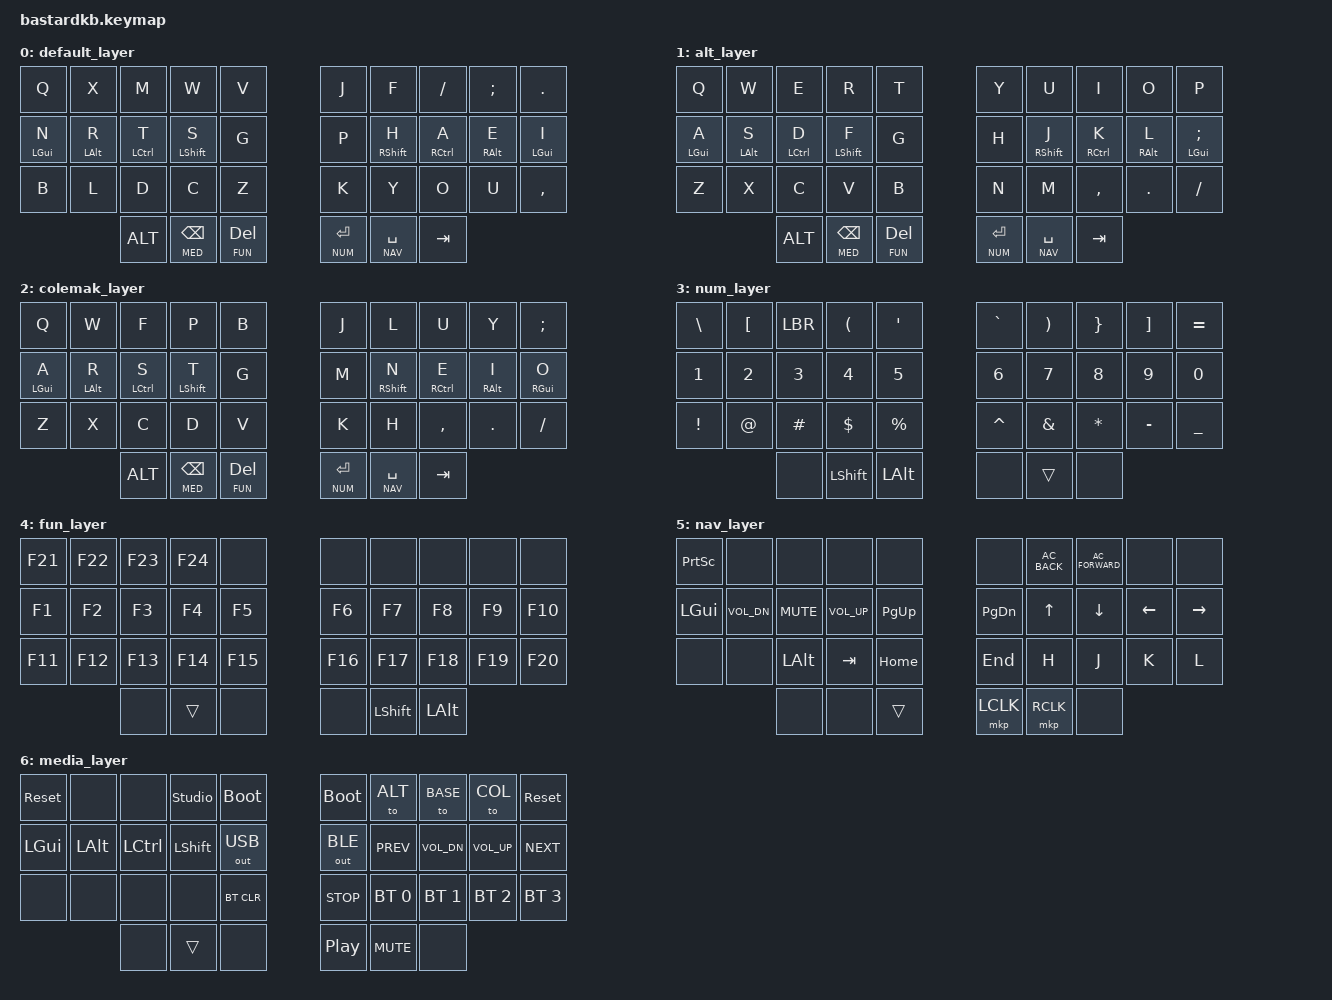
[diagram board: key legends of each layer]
#define ZMK_POINTING_DEFAULT_MOVE_VAL 2500  // 600
#define ZMK_POINTING_DEFAULT_SCRL_VAL 20    // 10

#include <behaviors.dtsi>
#include <dt-bindings/zmk/bt.h>
#include <dt-bindings/zmk/keys.h>
#include <dt-bindings/zmk/outputs.h>
#include <dt-bindings/zmk/pointing.h>

// The default keymap is roughly on Miryoku layout
// (https://github.com/manna-harbour/miryoku).
// Customize on your own on the config folder.

// Layer definitions
#define BASE    0
#define ALT     1
#define COL		2
#define NUM     3
#define FUN     4
#define NAV     5
#define MED     6
// -----------------

/ {
    behaviors {
        ht: hold_tap {
            label = "hold_tap";
            compatible = "zmk,behavior-hold-tap";
            #binding-cells = <2>;
            flavor = "tap-preferred";
            tapping-term-ms = <220>;
            quick-tap-ms = <150>;
            global-quick-tap;
            bindings = <&kp>, <&kp>;
        };

        mmv {
            acceleration-exponent = <1>;      // 1
            time-to-max-speed-ms = <300>;    // 40
            delay-ms = <0>;                   // 0
        };

        msc {
            acceleration-exponent = <0>;      // 0
            time-to-max-speed-ms = <40>;      // 500
            delay-ms = <0>;                   // 10
        };
    };

    keymap {
        compatible = "zmk,keymap";

        default_layer { // GALLIUM
			bindings = <
&kp Q       &kp X       &kp M       &kp W        &kp V                      &kp J           &kp F         &kp FSLH    &kp SEMI        &kp DOT
&ht LGUI N  &ht LALT R  &ht LCTRL T &ht LSHFT S  &kp G                      &kp P           &ht RSHFT H   &ht RCTRL A &ht RALT E      &ht LGUI I
&kp B       &kp L       &kp D       &kp C        &kp Z                      &kp K           &kp Y         &kp O       &kp U           &kp COMMA
                        &kp ALT     &lt MED BSPC &lt FUN DEL                &lt NUM RET     &lt NAV SPACE &kp TAB
            >;
        };

	    alt_layer { // QWERTY
            bindings = <
&kp Q       &kp W       &kp E       &kp R        &kp T                      &kp Y           &kp U         &kp I       &kp O           &kp P
&ht LGUI A  &ht LALT S  &ht LCTRL D &ht LSHFT F  &kp G                      &kp H           &ht RSHFT J   &ht RCTRL K &ht RALT L      &ht LGUI SEMI
&kp Z       &kp X       &kp C       &kp V        &kp B                      &kp N           &kp M         &kp COMMA   &kp DOT         &kp FSLH
                        &kp ALT     &lt MED BSPC &lt FUN DEL                &lt NUM RET     &lt NAV SPACE &kp TAB
            >;
        };    
	
	colemak_layer {
            bindings = <
    &kp Q       &kp W       &kp F       &kp P         &kp B                 &kp J           &kp L         &kp U       &kp Y           &kp SEMI
    &ht LGUI A  &ht LALT R  &ht LCTRL S &ht LSHFT T   &kp G                 &kp M           &ht RSHFT N   &ht RCTRL E &ht RALT I      &ht RGUI O
    &kp Z       &kp X       &kp C       &kp D         &kp V                 &kp K           &kp H         &kp COMMA   &kp DOT         &kp FSLH
                            &kp ALT     &lt MED BSPC  &lt FUN DEL           &lt NUM RET     &lt NAV SPACE &kp TAB
            >;
        };

        /* num_layer {
            bindings = <
&kp F12         &kp F7       &kp F8        &kp F9          &kp RBRC    &kp ASTRK  &kp N7        &kp N8        &kp N9       &kp FSLH
&ht LGUI F11    &ht LALT F4  &ht LCTRL F5  &ht LSHFT F6    &kp PLUS    &kp EQUAL  &ht RSHFT N4  &ht RCTRL N5  &ht RALT N6  &ht RGUI PLUS
&kp F10         &kp F1       &kp F2        &kp F3          &kp TAB     &kp BSLH   &kp N1        &kp N2        &kp N3       &kp MINUS
                                           &kp LPAR        &kp RPAR    &trans     &kp N0
            >;
        }; */

	num_layer {
            bindings = <
&kp BSLH   &kp LBKT   &kp LBR  &kp LPAR   &kp SQT      &kp GRAVE  &kp RPAR  &kp RBRC   &kp RBKT   &kp EQUAL
&kp N1     &kp N2     &kp N3   &kp N4     &kp N5       &kp N6     &kp N7    &kp N8     &kp N9     &kp N0   
&kp EXCL   &kp AT     &kp HASH &kp DLLR   &kp PRCNT    &kp CARET  &kp AMPS  &kp ASTRK  &kp MINUS  &kp UNDER
                      &none    &kp LSHFT  &kp LALT     &none      &trans    &none

//kp CAPS   &kp ESC    &kp LBKT   &kp LBRC   &kp LPAR   &kp RPAR   &kp RBRC  &kp RBKT   &kp EQUAL  &kp PLUS
//&kp COLON  &kp GRAVE  &kp EXCL   &kp PIPE   &kp FSLH   &kp ASTRK  &kp DLLR  &kp PRCNT  &kp CARET  &kp SEMI
//&kp TILDE  &kp MINUS  &kp UNDER  &kp COLON  &kp SQT    &kp DQT    &kp SEMI  &kp AT     &kp HASH   &kp BSLH
//                                 &kp AMPS   &kp ASTRK  &none      &trans
            >;
        };

	fun_layer {
            bindings = <
    &kp F21 &kp F22 &kp F23 &kp F24 &none       &none   &none     &none   &none   &none
    &kp F1  &kp F2  &kp F3  &kp F4  &kp F5      &kp F6  &kp F7    &kp F8  &kp F9  &kp F10 
    &kp F11 &kp F12 &kp F13 &kp F14 &kp F15     &kp F16 &kp F17   &kp F18 &kp F19 &kp F20
                    &none   &trans  &none       &none   &kp LSHFT &kp LALT
            >;
        };

        nav_layer {
            bindings = < 
&kp PSCRN  &none   		&none      &none        &none        &none      &kp C_AC_BACK &kp C_AC_FORWARD &none     &none
&kp LGUI   &kp C_VOL_DN &kp C_MUTE &kp C_VOL_UP &kp PG_UP    &kp PG_DN  &kp UP        &kp DOWN         &kp LEFT  &kp RIGHT
&none      &none     	&kp LALT   &kp TAB      &kp HOME     &kp END    &kp H         &kp J            &kp K     &kp L
                        &none      &none        &trans       &mkp LCLK  &mkp RCLK     &none
            >;
        };

        media_layer {
            bindings = <
&sys_reset  &none     &none      &studio_unlock &bootloader     &bootloader   &to ALT       &to BASE      &to COL       &sys_reset
&kp LGUI    &kp LALT  &kp LCTRL  &kp LSHFT      &out OUT_USB    &out OUT_BLE  &kp C_PREV    &kp C_VOL_DN  &kp C_VOL_UP  &kp C_NEXT
&none       &none     &none      &none          &bt BT_CLR      &kp C_STOP    &bt BT_SEL 0  &bt BT_SEL 1  &bt BT_SEL 2  &bt BT_SEL 3
                      &none      &trans         &none           &kp C_PP      &kp C_MUTE    &none
            >;
        };
    };
};
